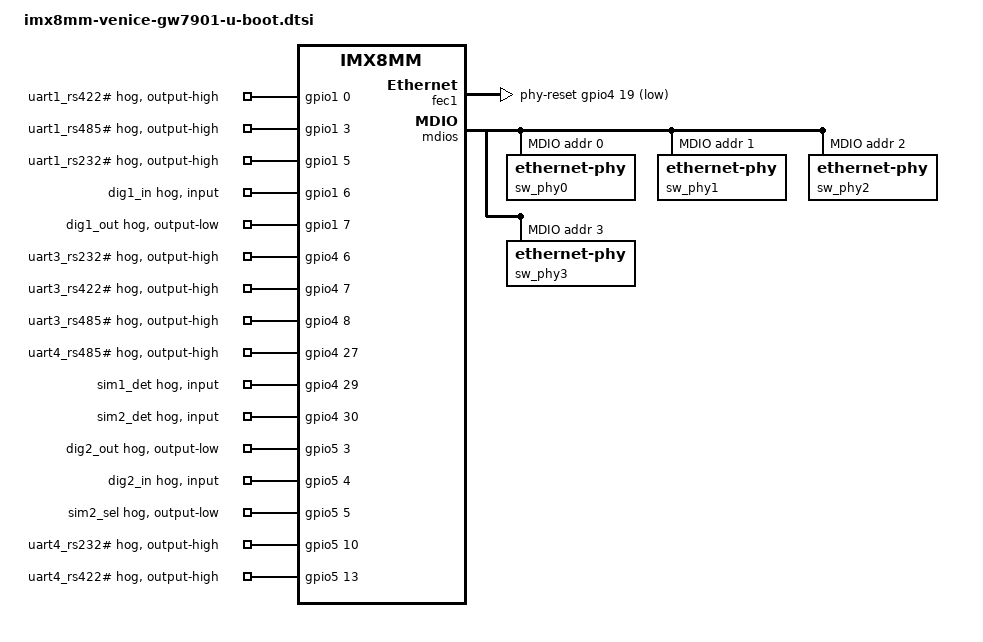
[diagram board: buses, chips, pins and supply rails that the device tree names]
// SPDX-License-Identifier: GPL-2.0+
/*
 * Copyright 2020 Gateworks Corporation
 */

#include "imx8mm-venice-u-boot.dtsi"

&gpio1 {
	uart1_rs422 {
		gpio-hog;
		output-high;
		gpios = <0 GPIO_ACTIVE_HIGH>;
		line-name = "uart1_rs422#";
	};

	uart1rs485 {
		gpio-hog;
		output-high;
		gpios = <3 GPIO_ACTIVE_HIGH>;
		line-name = "uart1_rs485#";
	};

	uart1rs232 {
		gpio-hog;
		output-high;
		gpios = <5 GPIO_ACTIVE_HIGH>;
		line-name = "uart1_rs232#";
	};

	dig1in {
		gpio-hog;
		input;
		gpios = <6 GPIO_ACTIVE_HIGH>;
		line-name = "dig1_in";
	};

	dig1out {
		gpio-hog;
		output-low;
		gpios = <7 GPIO_ACTIVE_HIGH>;
		line-name = "dig1_out";
	};
};

&gpio4 {
	uart3_rs232 {
		gpio-hog;
		output-high;
		gpios = <6 GPIO_ACTIVE_HIGH>;
		line-name = "uart3_rs232#";
	};

	uart3_rs422 {
		gpio-hog;
		output-high;
		gpios = <7 GPIO_ACTIVE_HIGH>;
		line-name = "uart3_rs422#";
	};

	uart3_rs485 {
		gpio-hog;
		output-high;
		gpios = <8 GPIO_ACTIVE_HIGH>;
		line-name = "uart3_rs485#";
	};

	uart4_rs485 {
		gpio-hog;
		output-high;
		gpios = <27 GPIO_ACTIVE_HIGH>;
		line-name = "uart4_rs485#";
	};

	sim1det {
		gpio-hog;
		input;
		gpios = <29 GPIO_ACTIVE_HIGH>;
		line-name = "sim1_det";
	};

	sim2det {
		gpio-hog;
		input;
		gpios = <30 GPIO_ACTIVE_HIGH>;
		line-name = "sim2_det";
	};
};

&gpio5 {
	dig2out {
		gpio-hog;
		output-low;
		gpios = <3 GPIO_ACTIVE_HIGH>;
		line-name = "dig2_out";
	};

	dig2in {
		gpio-hog;
		input;
		gpios = <4 GPIO_ACTIVE_HIGH>;
		line-name = "dig2_in";
	};

	sim2sel {
		gpio-hog;
		output-low;
		gpios = <5 GPIO_ACTIVE_HIGH>;
		line-name = "sim2_sel";
	};

	uart4_rs232 {
		gpio-hog;
		output-high;
		gpios = <10 GPIO_ACTIVE_HIGH>;
		line-name = "uart4_rs232#";
	};

	uart4_rs422 {
		gpio-hog;
		output-high;
		gpios = <13 GPIO_ACTIVE_HIGH>;
		line-name = "uart4_rs422#";
	};
};

&fec1 {
	phy-reset-gpios = <&gpio4 19 GPIO_ACTIVE_LOW>;
	phy-reset-duration = <1>;
	phy-reset-post-delay = <1>;
};

&switch {
	ports {
		#address-cells = <1>;
		#size-cells = <0>;

		lan1: port@0 {
			phy-handle = <&sw_phy0>;
		};

		lan2: port@1 {
			phy-handle = <&sw_phy1>;
		};

		lan3: port@2 {
			phy-handle = <&sw_phy2>;
		};

		lan4: port@3 {
			phy-handle = <&sw_phy3>;
		};
	};

	mdios {
		#address-cells = <1>;
		#size-cells = <0>;

		mdio@0 {
			reg = <0>;
			compatible = "microchip,ksz-mdio";
			#address-cells = <1>;
			#size-cells = <0>;

			sw_phy0: ethernet-phy@0 {
				reg = <0x0>;
			};

			sw_phy1: ethernet-phy@1 {
				reg = <0x1>;
			};

			sw_phy2: ethernet-phy@2 {
				reg = <0x2>;
			};

			sw_phy3: ethernet-phy@3 {
				reg = <0x3>;
			};
		};
	};
};

&pinctrl_fec1 {
	bootph-pre-ram;
};

&{/soc@0/bus@30800000/i2c@30a30000/pmic@4b} {
	bootph-pre-ram;
};

&{/soc@0/bus@30800000/i2c@30a30000/pmic@4b/regulators} {
	bootph-pre-ram;
};

&pinctrl_pmic {
	bootph-pre-ram;
};
